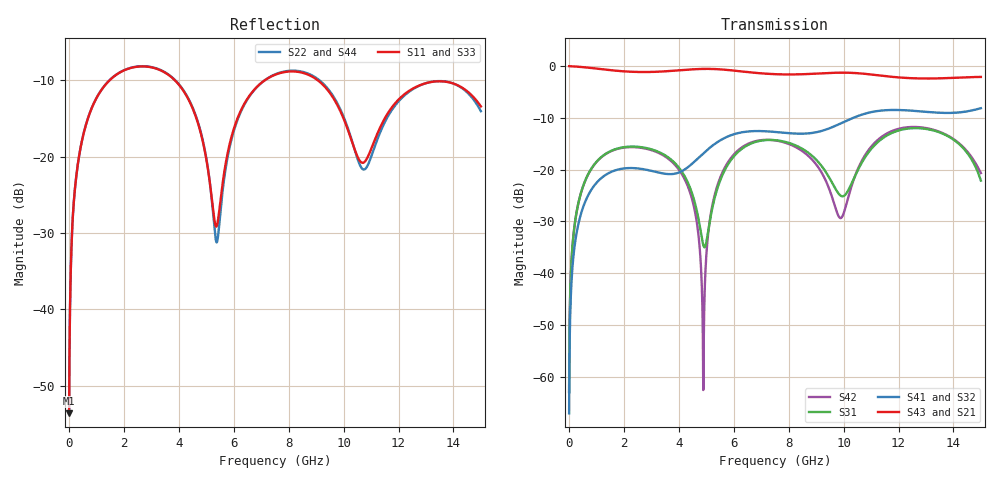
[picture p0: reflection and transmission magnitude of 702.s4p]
! Created with skrf 1.8.0 (http://scikit-rf.org).
# GHz S RI R 50.0
!freq ReS11 ImS11 ReS12 ImS12 ReS13 ImS13
! ReS14 ImS14
! ReS21 ImS21 ReS22 ImS22 ReS23 ImS23
! ReS24 ImS24
! ReS31 ImS31 ReS32 ImS32 ReS33 ImS33
! ReS34 ImS34
! ReS41 ImS41 ReS42 ImS42 ReS43 ImS43
! ReS44 ImS44
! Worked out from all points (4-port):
!   2499 points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, 5 MHz to 15 GHz, reference 50 ohm
!   strongest paths, dB at 5 MHz, 3.476 GHz, 7.19 GHz, 11.1 GHz, 15 GHz:
!     S43: 0.0, -1.0, -1.5, -1.7, -2.1
!     S21: 0.0, -1.0, -1.5, -1.7, -2.1
!     S41: -67.0, -20.8, -12.6, -8.8, -8.1
!     S32: -67.0, -20.9, -12.6, -8.8, -8.2
!     S31: -62.9, -17.1, -14.3, -15.4, -22.1
!     S42: -62.9, -17.4, -14.2, -15.0, -20.7
!   lowest |S11| = -53.6 dB at 5 MHz (marker M1), VSWR 1.00, Z = 50.2 + j0.127 ohm
!   |S11| at or under -10 dB: start of sweep to 1.485 GHz; 3.849 GHz to 7.142 GHz (3.293 GHz wide, 59.9 % of centre); 9.051 GHz to end of sweep
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0.005  0.00167 0.00126  0.9983 -0.00325  8.56e-05 0.000708  -8.29e-05 -0.000437
       0.9983 -0.00325  0.00167 0.00126  -8.29e-05 -0.000437  8.56e-05 0.000708
       8.56e-05 0.000708  -8.29e-05 -0.000437  0.00167 0.00126  0.9983 -0.00325
       -8.29e-05 -0.000437  8.56e-05 0.000708  0.9983 -0.00325  0.00167 0.00126
0.3126303  0.0248 0.0829  0.966 -0.2021  0.0122 0.0419  -0.01 -0.0255
           0.966 -0.2021  0.0249 0.0829  -0.01 -0.0256  0.012 0.042
           0.0122 0.0419  -0.01 -0.0256  0.0248 0.0829  0.966 -0.2021
           -0.01 -0.0255  0.012 0.042  0.966 -0.2021  0.0249 0.0829
1.569404  0.2769 0.1726  0.5296 -0.7398  0.1408 0.0611  -0.096 -0.00247
          0.5296 -0.7398  0.2782 0.1718  -0.0958 -0.0027  0.1375 0.0657
          0.1408 0.0611  -0.0958 -0.0027  0.277 0.1725  0.5296 -0.7398
          -0.096 -0.00247  0.1375 0.0657  0.5296 -0.7398  0.278 0.1719
4.89579  0.0619 -0.1033  -0.8768 -0.3366  -0.0169 -0.00756  -0.0457 0.1366
         -0.8768 -0.3366  0.0559 -0.1088  -0.049 0.1354  0.000547 0.000559
         -0.0169 -0.00756  -0.049 0.1354  0.06 -0.103  -0.8769 -0.3366
         -0.0457 0.1366  0.000547 0.000559  -0.8769 -0.3366  0.057 -0.1074
6.077532  0.1074 0.127  -0.8428 0.3175  0.086 0.1123  0.1069 0.1953
          -0.8428 0.3175  0.0999 0.1277  0.1024 0.1974  0.0966 0.1108
          0.086 0.1123  0.1024 0.1974  0.1064 0.1286  -0.8429 0.3171
          0.1069 0.1953  0.0966 0.1108  -0.8429 0.3171  0.1009 0.127
10.72322  0.0911 -0.00476  0.8314 0.1477  -0.0222 0.1224  0.0457 -0.3406
          0.8314 0.1477  0.0813 -0.0127  0.0603 -0.3388  -0.00215 0.1299
          -0.0222 0.1224  0.0603 -0.3388  0.0866 0.000278  0.8314 0.149
          0.0457 -0.3406  -0.00215 0.1299  0.8314 0.149  0.0841 -0.0111
15  0.1828 -0.1088  -0.4518 -0.6416  0.0138 -0.0772  -0.2975 0.2554
    -0.4518 -0.6416  0.1596 -0.117  -0.3139 0.2333  -0.0111 -0.092
    0.0138 -0.0772  -0.3139 0.2333  0.1773 -0.1111  -0.4484 -0.6454
    -0.2975 0.2554  -0.0111 -0.092  -0.4484 -0.6454  0.1606 -0.1068
